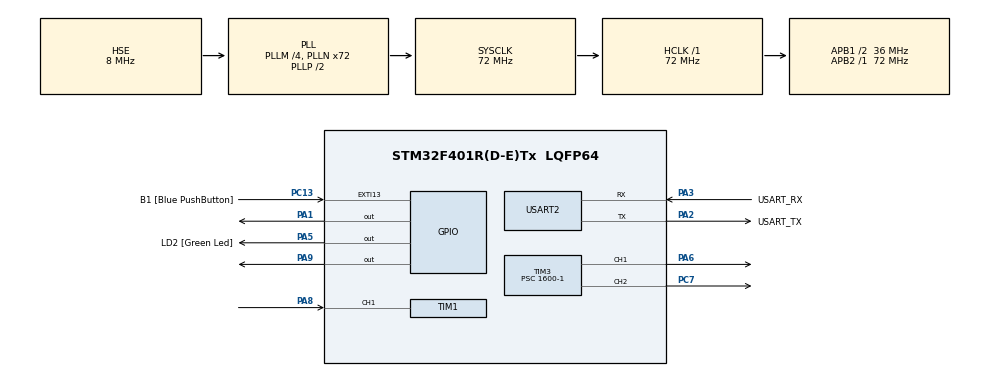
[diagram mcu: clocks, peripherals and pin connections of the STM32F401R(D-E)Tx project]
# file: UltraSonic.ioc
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Mcu.Family=STM32F4
Mcu.Name=STM32F401R(D-E)Tx
Mcu.Package=LQFP64
NVIC.PriorityGroup=NVIC_PRIORITYGROUP_0
NVIC.TIM1_CC_IRQn=true\:0\:0\:false\:false\:true\:true\:true\:true
PA1.Signal=GPIO_Output
PA13.GPIO_Label=TMS
PA13.Mode=Serial_Wire
PA13.Signal=SYS_JTMS-SWDIO
PA14.GPIO_Label=TCK
PA14.Mode=Serial_Wire
PA14.Signal=SYS_JTCK-SWCLK
PA2.GPIO_Label=USART_TX
PA2.GPIO_Mode=GPIO_MODE_AF_PP
PA2.GPIO_PuPd=GPIO_NOPULL
PA2.GPIO_Speed=GPIO_SPEED_FREQ_LOW
PA2.Mode=Asynchronous
PA2.Signal=USART2_TX
PA3.GPIO_Label=USART_RX
PA3.GPIO_Mode=GPIO_MODE_AF_PP
PA3.GPIO_PuPd=GPIO_NOPULL
PA3.GPIO_Speed=GPIO_SPEED_FREQ_LOW
PA3.Mode=Asynchronous
PA3.Signal=USART2_RX
PA5.GPIO_Label=LD2 [Green Led]
PA5.GPIO_Mode=GPIO_MODE_OUTPUT_PP
PA5.GPIO_PuPd=GPIO_NOPULL
PA5.GPIO_Speed=GPIO_SPEED_FREQ_LOW
PA5.Signal=GPIO_Output
PA6.Signal=S_TIM3_CH1
PA8.Signal=S_TIM1_CH1
PA9.Signal=GPIO_Output
PB3.GPIO_Label=SWO
PB3.Signal=SYS_JTDO-SWO
PC13-ANTI_TAMP.GPIO_Label=B1 [Blue PushButton]
PC13-ANTI_TAMP.GPIO_ModeDefaultEXTI=GPIO_MODE_IT_FALLING
PC13-ANTI_TAMP.GPIO_PuPd=GPIO_NOPULL
PC13-ANTI_TAMP.Signal=GPXTI13
PC14-OSC32_IN.Mode=LSE-External-Oscillator
PC14-OSC32_IN.Signal=RCC_OSC32_IN
PC15-OSC32_OUT.Mode=LSE-External-Oscillator
PC15-OSC32_OUT.Signal=RCC_OSC32_OUT
PC7.Signal=S_TIM3_CH2
PH0\ -\ OSC_IN.Mode=HSE-External-Oscillator
PH0\ -\ OSC_IN.Signal=RCC_OSC_IN
PH1\ -\ OSC_OUT.Mode=HSE-External-Oscillator
PH1\ -\ OSC_OUT.Signal=RCC_OSC_OUT
ProjectManager.HeapSize=0x200
ProjectManager.StackSize=0x400
ProjectManager.TargetToolchain=STM32CubeIDE
RCC.48MHZClocksFreq_Value=20571428.57142857
RCC.AHBFreq_Value=72000000
RCC.APB1CLKDivider=RCC_HCLK_DIV2
RCC.APB1Freq_Value=36000000
RCC.APB1TimFreq_Value=72000000
RCC.APB2Freq_Value=72000000
RCC.APB2TimFreq_Value=72000000
RCC.CortexFreq_Value=72000000
RCC.HCLKFreq_Value=72000000
RCC.HSE_VALUE=8000000
RCC.HSI_VALUE=16000000
RCC.PLLM=4
RCC.PLLN=72
RCC.PLLQ=7
RCC.PLLSourceVirtual=RCC_PLLSOURCE_HSE
RCC.SYSCLKFreq_VALUE=72000000
RCC.SYSCLKSource=RCC_SYSCLKSOURCE_PLLCLK
RCC.VCOOutputFreq_Value=144000000
SH.S_TIM1_CH1.0=TIM1_CH1,Input_Capture1_from_TI1
SH.S_TIM3_CH1.0=TIM3_CH1,PWM Generation1 CH1
SH.S_TIM3_CH2.0=TIM3_CH2,PWM Generation2 CH2
TIM1.Channel-Input_Capture1_from_TI1=TIM_CHANNEL_1
TIM1.Period=0xffff-1
TIM1.Prescaler=72-1
TIM3.Channel-PWM\ Generation1\ CH1=TIM_CHANNEL_1
TIM3.Channel-PWM\ Generation2\ CH2=TIM_CHANNEL_2
TIM3.Period=199
TIM3.Prescaler=1600-1
USART2.VirtualMode=VM_ASYNC
board=NUCLEO-F401RE

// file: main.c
/* USER CODE BEGIN Header */
/**
  ******************************************************************************
  * @file           : main.c
  * @brief          : Main program body
  ******************************************************************************
  * @attention
  *
  * Copyright (c) 2024 STMicroelectronics.
  * All rights reserved.
  *
  * This software is licensed under terms that can be found in the LICENSE file
  * in the root directory of this software component.
  * If no LICENSE file comes with this software, it is provided AS-IS.
  *
  ******************************************************************************
  */
/* USER CODE END Header */
#include "main.h"

/* USER CODE BEGIN PM */
TIM_HandleTypeDef htim1;
TIM_HandleTypeDef htim2;
TIM_HandleTypeDef htim10;
UART_HandleTypeDef huart2;
/* USER CODE END PM */

TIM_HandleTypeDef htim1;
TIM_HandleTypeDef htim3;

UART_HandleTypeDef huart2;

void SystemClock_Config(void);
static void MX_GPIO_Init(void);
static void MX_USART2_UART_Init(void);
static void MX_TIM1_Init(void);
static void MX_TIM3_Init(void);
/* USER CODE BEGIN PFP */
#define LED_PIN GPIO_PIN_1
#define LED_PORT GPIOA
#define TRIG_PIN GPIO_PIN_9
#define TRIG_PORT GPIOA
#define ECHO_PIN GPIO_PIN_8
#define ECHO_PORT GPIOA
#define DISTANCE_THRESHOLD_CM 12

void delay_us(uint16_t us) {
    __HAL_TIM_SET_COUNTER(&htim1, 0);
    while (__HAL_TIM_GET_COUNTER(&htim1) < us);
}

uint32_t measure_distance_cm() {
    uint32_t time_us = 0;

    // Trigger the sensor by sending a 10us pulse
    HAL_GPIO_WritePin(TRIG_PORT, TRIG_PIN, GPIO_PIN_SET);
    delay_us(10);
    HAL_GPIO_WritePin(TRIG_PORT, TRIG_PIN, GPIO_PIN_RESET);

    // Wait for echo to go high
    while (HAL_GPIO_ReadPin(ECHO_PORT, ECHO_PIN) == GPIO_PIN_RESET);

    // Start timing
    __HAL_TIM_SET_COUNTER(&htim1, 0);
    while (HAL_GPIO_ReadPin(ECHO_PORT, ECHO_PIN) == GPIO_PIN_SET) {
        time_us = __HAL_TIM_GET_COUNTER(&htim1);
        if (time_us > 38000) break;  // Timeout if no signal within ~38ms (6.6m distance)
    }

    // Convert time to distance in cm (Sound speed = 34300 cm/s)
    return (time_us * 0.0343) / 2;
}
/* USER CODE END PFP */

/* USER CODE BEGIN 0 */

//static void Main_TIM_OnePulse_Fire(TIM_HandleTypeDef* htim) {
//	htim->Instance->CR1 |= TIM_CR1_CEN;
//}
//void delay (uint16_t time) {
//	__HAL_TIM_SET_COUNTER(&htim1, 0);
//	while (__HAL_TIM_GET_COUNTER (&htiml) < time);
//
//
//}

// custom function to handle microsecond delays

// Callback function to capture echo signal

/* USER CODE END 0 */

int main(void)
{

  /* MCU Configuration--------------------------------------------------------*/

  /* Reset of all peripherals, Initializes the Flash interface and the Systick. */
  HAL_Init();

  /* Configure the system clock */
  SystemClock_Config();

  /* Initialize all configured peripherals */
  MX_GPIO_Init();
  MX_USART2_UART_Init();
  MX_TIM1_Init();
  MX_TIM3_Init();
  /* USER CODE BEGIN 2 */
  HAL_TIM_Base_Start(&htim1);  // Start the timer
  HAL_TIM_PWM_Start(&htim3, TIM_CHANNEL_1); // Start PWM on Channel 1
  HAL_TIM_PWM_Start(&htim3, TIM_CHANNEL_2); // Start PWM on Channel 2
  /* USER CODE END 2 */

  /* Infinite loop */
  /* USER CODE BEGIN WHILE */

  while (1)
  {
	    // Small delay to avoid rapid LED switching
    /* USER CODE END WHILE */

    /* USER CODE BEGIN 3 */
	  uint32_t distance_cm = measure_distance_cm();

	  	  if (distance_cm <= DISTANCE_THRESHOLD_CM) {
	  		  	  HAL_GPIO_WritePin(LED_PORT, LED_PIN, GPIO_PIN_SET);  // Turn on LED
	  		  	  __HAL_TIM_SET_COMPARE(&htim3, TIM_CHANNEL_1, 15);
	  		  	  __HAL_TIM_SET_COMPARE(&htim3, TIM_CHANNEL_2, 15);
	  	  } else {
	  		  	  HAL_GPIO_WritePin(LED_PORT, LED_PIN, GPIO_PIN_RESET); // Turn off LED
	  		  	  __HAL_TIM_SET_COMPARE(&htim3, TIM_CHANNEL_1, 20);
	  		  	  __HAL_TIM_SET_COMPARE(&htim3, TIM_CHANNEL_1, 20);
	  	  }
	  	  HAL_Delay(100);
	   }

  /* USER CODE END 3 */
}

void SystemClock_Config(void)
{
  RCC_OscInitTypeDef RCC_OscInitStruct = {0};
  RCC_ClkInitTypeDef RCC_ClkInitStruct = {0};

  /** Configure the main internal regulator output voltage
  */
  __HAL_RCC_PWR_CLK_ENABLE();
  __HAL_PWR_VOLTAGESCALING_CONFIG(PWR_REGULATOR_VOLTAGE_SCALE2);

  /** Initializes the RCC Oscillators according to the specified parameters
  * in the RCC_OscInitTypeDef structure.
  */
  RCC_OscInitStruct.OscillatorType = RCC_OSCILLATORTYPE_HSE;
  RCC_OscInitStruct.HSEState = RCC_HSE_ON;
  RCC_OscInitStruct.PLL.PLLState = RCC_PLL_ON;
  RCC_OscInitStruct.PLL.PLLSource = RCC_PLLSOURCE_HSE;
  RCC_OscInitStruct.PLL.PLLM = 4;
  RCC_OscInitStruct.PLL.PLLN = 72;
  RCC_OscInitStruct.PLL.PLLP = RCC_PLLP_DIV2;
  RCC_OscInitStruct.PLL.PLLQ = 7;
  if (HAL_RCC_OscConfig(&RCC_OscInitStruct) != HAL_OK)
  {
    Error_Handler();
  }

  /** Initializes the CPU, AHB and APB buses clocks
  */
  RCC_ClkInitStruct.ClockType = RCC_CLOCKTYPE_HCLK|RCC_CLOCKTYPE_SYSCLK
                              |RCC_CLOCKTYPE_PCLK1|RCC_CLOCKTYPE_PCLK2;
  RCC_ClkInitStruct.SYSCLKSource = RCC_SYSCLKSOURCE_PLLCLK;
  RCC_ClkInitStruct.AHBCLKDivider = RCC_SYSCLK_DIV1;
  RCC_ClkInitStruct.APB1CLKDivider = RCC_HCLK_DIV2;
  RCC_ClkInitStruct.APB2CLKDivider = RCC_HCLK_DIV1;

  if (HAL_RCC_ClockConfig(&RCC_ClkInitStruct, FLASH_LATENCY_2) != HAL_OK)
  {
    Error_Handler();
  }
}

static void MX_TIM1_Init(void)
{

  TIM_MasterConfigTypeDef sMasterConfig = {0};
  TIM_IC_InitTypeDef sConfigIC = {0};

  htim1.Instance = TIM1;
  htim1.Init.Prescaler = 72-1;
  htim1.Init.CounterMode = TIM_COUNTERMODE_UP;
  htim1.Init.Period = 0xffff-1;
  htim1.Init.ClockDivision = TIM_CLOCKDIVISION_DIV1;
  htim1.Init.RepetitionCounter = 0;
  htim1.Init.AutoReloadPreload = TIM_AUTORELOAD_PRELOAD_DISABLE;
  if (HAL_TIM_IC_Init(&htim1) != HAL_OK)
  {
    Error_Handler();
  }
  sMasterConfig.MasterOutputTrigger = TIM_TRGO_RESET;
  sMasterConfig.MasterSlaveMode = TIM_MASTERSLAVEMODE_DISABLE;
  if (HAL_TIMEx_MasterConfigSynchronization(&htim1, &sMasterConfig) != HAL_OK)
  {
    Error_Handler();
  }
  sConfigIC.ICPolarity = TIM_INPUTCHANNELPOLARITY_RISING;
  sConfigIC.ICSelection = TIM_ICSELECTION_DIRECTTI;
  sConfigIC.ICPrescaler = TIM_ICPSC_DIV1;
  sConfigIC.ICFilter = 0;
  if (HAL_TIM_IC_ConfigChannel(&htim1, &sConfigIC, TIM_CHANNEL_1) != HAL_OK)
  {
    Error_Handler();
  }

}

static void MX_TIM3_Init(void)
{

  TIM_MasterConfigTypeDef sMasterConfig = {0};
  TIM_OC_InitTypeDef sConfigOC = {0};

  htim3.Instance = TIM3;
  htim3.Init.Prescaler = 1600-1;
  htim3.Init.CounterMode = TIM_COUNTERMODE_UP;
  htim3.Init.Period = 199;
  htim3.Init.ClockDivision = TIM_CLOCKDIVISION_DIV1;
  htim3.Init.AutoReloadPreload = TIM_AUTORELOAD_PRELOAD_DISABLE;
  if (HAL_TIM_PWM_Init(&htim3) != HAL_OK)
  {
    Error_Handler();
  }
  sMasterConfig.MasterOutputTrigger = TIM_TRGO_RESET;
  sMasterConfig.MasterSlaveMode = TIM_MASTERSLAVEMODE_DISABLE;
  if (HAL_TIMEx_MasterConfigSynchronization(&htim3, &sMasterConfig) != HAL_OK)
  {
    Error_Handler();
  }
  sConfigOC.OCMode = TIM_OCMODE_PWM1;
  sConfigOC.Pulse = 0;
  sConfigOC.OCPolarity = TIM_OCPOLARITY_HIGH;
  sConfigOC.OCFastMode = TIM_OCFAST_DISABLE;
  if (HAL_TIM_PWM_ConfigChannel(&htim3, &sConfigOC, TIM_CHANNEL_1) != HAL_OK)
  {
    Error_Handler();
  }
  if (HAL_TIM_PWM_ConfigChannel(&htim3, &sConfigOC, TIM_CHANNEL_2) != HAL_OK)
  {
    Error_Handler();
  }
  HAL_TIM_MspPostInit(&htim3);

}

static void MX_USART2_UART_Init(void)
{

  huart2.Instance = USART2;
  huart2.Init.BaudRate = 115200;
  huart2.Init.WordLength = UART_WORDLENGTH_8B;
  huart2.Init.StopBits = UART_STOPBITS_1;
  huart2.Init.Parity = UART_PARITY_NONE;
  huart2.Init.Mode = UART_MODE_TX_RX;
  huart2.Init.HwFlowCtl = UART_HWCONTROL_NONE;
  huart2.Init.OverSampling = UART_OVERSAMPLING_16;
  if (HAL_UART_Init(&huart2) != HAL_OK)
  {
    Error_Handler();
  }

}

static void MX_GPIO_Init(void)
{
  GPIO_InitTypeDef GPIO_InitStruct = {0};

  /* GPIO Ports Clock Enable */
  __HAL_RCC_GPIOC_CLK_ENABLE();
  __HAL_RCC_GPIOH_CLK_ENABLE();
  __HAL_RCC_GPIOA_CLK_ENABLE();
  __HAL_RCC_GPIOB_CLK_ENABLE();

  /*Configure GPIO pin Output Level */
  HAL_GPIO_WritePin(GPIOA, GPIO_PIN_1|LD2_Pin|GPIO_PIN_9, GPIO_PIN_RESET);

  /*Configure GPIO pin : B1_Pin */
  GPIO_InitStruct.Pin = B1_Pin;
  GPIO_InitStruct.Mode = GPIO_MODE_IT_FALLING;
  GPIO_InitStruct.Pull = GPIO_NOPULL;
  HAL_GPIO_Init(B1_GPIO_Port, &GPIO_InitStruct);

  /*Configure GPIO pins : PA1 LD2_Pin PA9 */
  GPIO_InitStruct.Pin = GPIO_PIN_1|LD2_Pin|GPIO_PIN_9;
  GPIO_InitStruct.Mode = GPIO_MODE_OUTPUT_PP;
  GPIO_InitStruct.Pull = GPIO_NOPULL;
  GPIO_InitStruct.Speed = GPIO_SPEED_FREQ_LOW;
  HAL_GPIO_Init(GPIOA, &GPIO_InitStruct);

}

void Error_Handler(void)
{
  __disable_irq();
  while (1)
  {
  }
}
